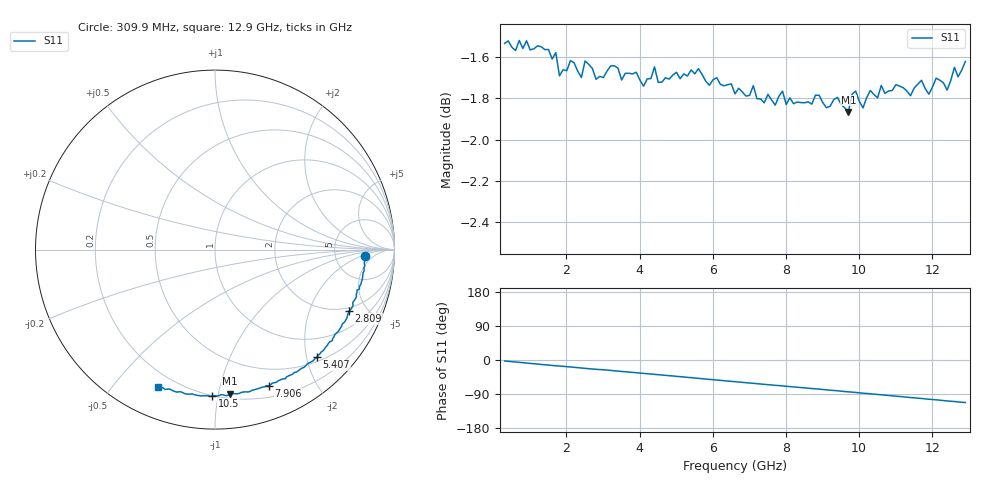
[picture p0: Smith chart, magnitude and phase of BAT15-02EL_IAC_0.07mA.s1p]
! Infineon Technologies  Discrete & RF Semiconductors
! BAT15-02EL
! IAC = 0.07 mA
! One-Port S-Parameters
# Hz  S  MA  R  50
!f  S11
!Hz  Mag  Ang
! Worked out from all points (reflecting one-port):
!   127 points, 309.9 MHz to 12.9 GHz, reference 50 ohm
!   lowest |S11| = -1.9 dB at 9.705 GHz (marker M1), VSWR 9.35, Z = 11.8 - j54 ohm
!   phase of S11 starts at -3 deg and turns -110 deg over the sweep
!   S11 on the Smith chart (normalised r, x): 309.9 MHz: 11, -3; 2.809 GHz: 1.81, -3.79; 5.407 GHz: 0.58, -2.19; 7.906 GHz: 0.31, -1.42; 10.5 GHz: 0.20, -0.96; 12.9 GHz: 0.13, -0.66
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3.0985e8  0.8382 -2.6
9.0955e8  0.8395 -8.0
1.70915e9  0.8339 -15.3
1.8091e9  0.8232 -15.9
1.90905e9  0.826 -16.7
2.10895e9  0.8302 -18.3
2.4088e9  0.8224 -21.2
2.50875e9  0.83 -22.0
2.8086e9  0.8216 -24.5
3.2084e9  0.8277 -27.5
3.50825e9  0.8212 -30.2
4.4078e9  0.8273 -37.8
5.10745e9  0.8218 -43.9
5.4073e9  0.8259 -46.6
6.6067e9  0.8149 -57.3
7.10645e9  0.8187 -61.5
7.90605e9  0.8161 -68.4
8.2059e9  0.8104 -71.0
8.90555e9  0.8143 -76.9
9.70515e9  0.8067 -84.1
9.8051e9  0.8147 -84.7
1.050475e10  0.8131 -91.0
1.10045e10  0.8191 -95.3
1.14043e10  0.8141 -99.1
1.170415e10  0.8211 -101.5
1.24038e10  0.8166 -108.1
1.26037e10  0.8271 -109.6
1.290355e10  0.8298 -112.3
